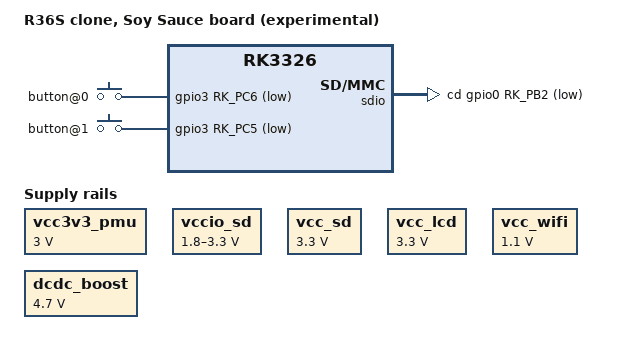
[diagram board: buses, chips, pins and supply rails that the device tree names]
// SPDX-License-Identifier: (GPL-2.0+ OR MIT)
/*
 * EXPERIMENTAL - not tested on hardware by andr36oid.
 *
 * Common part of the "Soy Sauce" R36S clone boards (board silkscreen
 * Y3506_V03 / Y3506_V04 / Y3506_V05). Almost every GPIO differs from the
 * genuine R36S: buttons, stick mux, volume keys, PMIC interrupt, DC detect,
 * second card slot detect, speaker switch and the LCD enable line.
 * LDO9 is a 1.1 V rail here, and LDO8 feeds the LCD at 3.3 V.
 *
 * Ported from the ArkOS ports in southoz's dArkOSRE-R36 (soysauce/*),
 * cross checked with K4uanGP's "soy sauce v04" andr36oid port.
 * A board DTS adds the panel (and, on some batches, the select/FN swap).
 */

#include "rk3326-r36s-android.dtsi"

/ {
	model = "R36S clone, Soy Sauce board (experimental)";
};

&gpio_keys {
	button@0 {
		gpios = <&gpio3 RK_PC6 GPIO_ACTIVE_LOW>;	/* volume up */
	};
	button@1 {
		gpios = <&gpio3 RK_PC5 GPIO_ACTIVE_LOW>;	/* volume down */
	};
};

&joypad {
	amux-a-gpios = <&gpio0 RK_PB5 GPIO_ACTIVE_LOW>;
	amux-b-gpios = <&gpio0 RK_PB4 GPIO_ACTIVE_LOW>;
	amux-en-gpios = <&gpio0 RK_PC1 GPIO_ACTIVE_LOW>;
	amux-channel-mapping = <3 2 0 1>;

	sw1 { gpios = <&gpio3 RK_PA7 GPIO_ACTIVE_LOW>; };	/* up */
	sw2 { gpios = <&gpio3 RK_PB0 GPIO_ACTIVE_LOW>; };	/* down */
	sw3 { gpios = <&gpio3 RK_PB2 GPIO_ACTIVE_LOW>; };	/* left */
	sw4 { gpios = <&gpio3 RK_PB1 GPIO_ACTIVE_LOW>; };	/* right */
	sw5 { gpios = <&gpio3 RK_PB6 GPIO_ACTIVE_LOW>; };	/* A */
	sw6 { gpios = <&gpio3 RK_PB4 GPIO_ACTIVE_LOW>; };	/* B */
	sw7 { gpios = <&gpio3 RK_PB3 GPIO_ACTIVE_LOW>; };	/* Y */
	sw8 { gpios = <&gpio3 RK_PB5 GPIO_ACTIVE_LOW>; };	/* X */
	sw11 { gpios = <&gpio0 RK_PB3 GPIO_ACTIVE_LOW>; };	/* L3 */
	sw12 { gpios = <&gpio3 RK_PD3 GPIO_ACTIVE_LOW>; };	/* R3 */
	sw13 { gpios = <&gpio3 RK_PA4 GPIO_ACTIVE_LOW>; };	/* FN */
	sw15 { gpios = <&gpio3 RK_PA3 GPIO_ACTIVE_LOW>; };	/* L1 */
	sw16 { gpios = <&gpio3 RK_PA0 GPIO_ACTIVE_LOW>; };	/* R1 */
	sw19 { gpios = <&gpio3 RK_PA5 GPIO_ACTIVE_LOW>; };	/* select */
	sw20 { gpios = <&gpio3 RK_PA1 GPIO_ACTIVE_LOW>; };	/* R2 */
	sw21 { gpios = <&gpio3 RK_PA2 GPIO_ACTIVE_LOW>; };	/* L2 */
	sw22 { gpios = <&gpio3 RK_PA6 GPIO_ACTIVE_LOW>; };	/* start */
};

/*
 * GPIO0_C1 (the R36S heartbeat LED) is the stick mux enable here, and no
 * port knows an LED or a vibration motor GPIO on this board.
 */
&leds {
	status = "disabled";
};

&rk817 {
	interrupts = <7 IRQ_TYPE_LEVEL_LOW>;	/* GPIO0_A7 */

	charger {
		dc_det_gpio = <&gpio3 RK_PC7 GPIO_ACTIVE_HIGH>;
		/delete-property/ bat_low_gpio;
	};

	battery {
		/*
		 * Stock battery values of the Soy Sauce Y3506 V03/V04 firmware
		 * (U-Boot DTBs of those batches, stock kernel DTB of the 253x
		 * Panel 7 batch). The U-Boot of batches 2533 and 2551 carries
		 * the ODROID-GO2 table instead; southoz's dArkOSRE ports use
		 * this one for them too.
		 */
		ocv_table = <3400 3438 3486 3521 3550 3571 3586
			3599 3612 3628 3655 3689 3719 3754
			3794 3838 3887 3942 4005 4087 4177>;
		design_capacity = <3156>;
		design_qmax = <3471>;
		bat_res = <132>;
		power_off_thresd = <3500>;
		zero_algorithm_vol = <3700>;
	};

	codec {
		spk-ctl-gpios = <&gpio3 RK_PC4 GPIO_ACTIVE_HIGH>;
	};
};

&vcc_1v0 {
	regulator-always-on;
	regulator-boot-on;
};

&vcc3v3_pmu {
	regulator-name = "vcc3v0_pmu";
	regulator-min-microvolt = <3000000>;
	regulator-max-microvolt = <3000000>;

	regulator-state-mem {
		regulator-suspend-microvolt = <3000000>;
	};
};

&vccio_sd {
	regulator-min-microvolt = <1800000>;
	regulator-max-microvolt = <3300000>;

	regulator-state-mem {
		regulator-suspend-microvolt = <3300000>;
	};
};

&vcc_sd {
	regulator-min-microvolt = <3300000>;
	regulator-max-microvolt = <3300000>;

	regulator-state-mem {
		regulator-suspend-microvolt = <3300000>;
	};
};

&vcc_backlight {
	regulator-name = "vcc2v8_dvp";
	regulator-always-on;
	regulator-boot-on;
};

/* LDO8 feeds the LCD at 3.3 V on this board */
&vcc_lcd {
	regulator-always-on;
	regulator-boot-on;
	regulator-min-microvolt = <3300000>;
	regulator-max-microvolt = <3300000>;

	regulator-state-mem {
		regulator-suspend-microvolt = <3300000>;
	};
};

/* LDO9 is a 1.1 V rail here: the R36S setting (3.3 V) must not reach it */
&vcc_wifi {
	regulator-name = "vdd_11";
	regulator-min-microvolt = <1100000>;
	regulator-max-microvolt = <1100000>;

	regulator-state-mem {
		regulator-on-in-suspend;
		regulator-suspend-microvolt = <1100000>;
	};
};

&dcdc_boost {
	regulator-min-microvolt = <4700000>;
};

&backlight {
	pwms = <&pwm1 0 40000 0>;
};

&dsi {
	panel@0 {
		enable-gpios = <&gpio1 RK_PC2 GPIO_ACTIVE_LOW>;
	};
};

/*
 * GPIO1_C2 is the LCD enable line here, but UART1 took it as its CTS pin,
 * so the panel driver could not drive it. Stock turns UART1 off too.
 */
&uart1 {
	status = "disabled";
};

&sdmmc {
	no-1-8-v;
	/delete-property/ sd-uhs-sdr12;
	/delete-property/ sd-uhs-sdr25;
	/delete-property/ sd-uhs-sdr50;
	/delete-property/ sd-uhs-sdr104;
};

&sdio {
	cd-gpios = <&gpio0 RK_PB2 GPIO_ACTIVE_LOW>;
	no-1-8-v;
	/delete-property/ sd-uhs-sdr12;
	/delete-property/ sd-uhs-sdr25;
	/delete-property/ sd-uhs-sdr50;
	/delete-property/ sd-uhs-sdr104;
};

&pmic_int {
	rockchip,pins =
		<0 RK_PA7 RK_FUNC_GPIO &pcfg_pull_up>,
		<3 RK_PC7 RK_FUNC_GPIO &pcfg_pull_none>;
};

&btn_pins {
	rockchip,pins =
		<0 RK_PB3 RK_FUNC_GPIO &pcfg_pull_up>,
		<3 RK_PA0 RK_FUNC_GPIO &pcfg_pull_up>,
		<3 RK_PA1 RK_FUNC_GPIO &pcfg_pull_up>,
		<3 RK_PA2 RK_FUNC_GPIO &pcfg_pull_up>,
		<3 RK_PA3 RK_FUNC_GPIO &pcfg_pull_up>,
		<3 RK_PA4 RK_FUNC_GPIO &pcfg_pull_up>,
		<3 RK_PA5 RK_FUNC_GPIO &pcfg_pull_up>,
		<3 RK_PA6 RK_FUNC_GPIO &pcfg_pull_up>,
		<3 RK_PA7 RK_FUNC_GPIO &pcfg_pull_up>,
		<3 RK_PB0 RK_FUNC_GPIO &pcfg_pull_up>,
		<3 RK_PB1 RK_FUNC_GPIO &pcfg_pull_up>,
		<3 RK_PB2 RK_FUNC_GPIO &pcfg_pull_up>,
		<3 RK_PB3 RK_FUNC_GPIO &pcfg_pull_up>,
		<3 RK_PB4 RK_FUNC_GPIO &pcfg_pull_up>,
		<3 RK_PB5 RK_FUNC_GPIO &pcfg_pull_up>,
		<3 RK_PB6 RK_FUNC_GPIO &pcfg_pull_up>,
		<3 RK_PC5 RK_FUNC_GPIO &pcfg_pull_up>,
		<3 RK_PC6 RK_FUNC_GPIO &pcfg_pull_up>,
		<3 RK_PD3 RK_FUNC_GPIO &pcfg_pull_up>;
};
